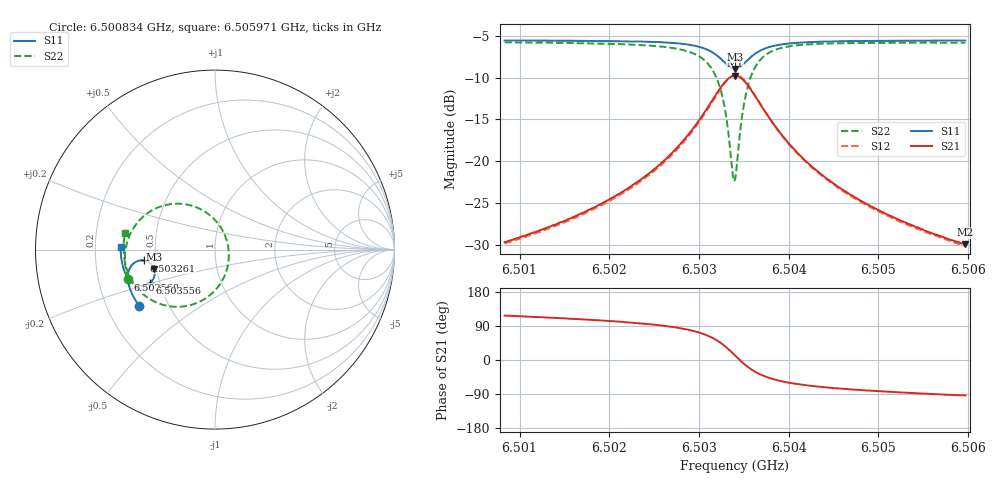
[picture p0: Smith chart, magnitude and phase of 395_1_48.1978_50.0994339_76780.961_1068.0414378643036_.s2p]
#  HZ  S  RI  R  50.00
! Rohde & Schwarz Vector Network Analyzer
! Rohde-Schwarz,ZNB20-2Port,1311601062101988,3.16
! Created: UTC 3/20/2024, 11:53:46 AM
! freq[Hz]  re:S11  im:S11  re:S21  im:S21  re:S12  im:S12  re:S22  im:S22
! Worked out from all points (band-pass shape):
!   401 points, 6.500834 GHz to 6.505971 GHz, reference 50 ohm
!   highest |S21| = -9.78 dB at 6.503402 GHz (marker M1); lowest = -30.0 dB at 6.505971 GHz (marker M2)
!   |S21| within 3 dB of the highest: 6.503146 GHz to 6.50366 GHz (513.7 kHz wide, 0.0079 % of centre)
!   lowest |S11| = -9.0 dB at 6.503402 GHz (marker M3), VSWR 2.11, Z = 24.2 - j6.06 ohm
!   |S11| at or under -10 dB: nowhere
!   |S22| runs from -22.4 to -5.8 dB; largest |S21 - S12| = 0.011
!   S11 on the Smith chart (normalised r, x): 6.500834 GHz: 0.34, -0.30; 6.502568 GHz: 0.33, -0.15; 6.503261 GHz: 0.43, -0.06; 6.503556 GHz: 0.44, -0.20; 6.505971 GHz: 0.31, +0.01
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6.5008339e9  -0.4209 -0.3164  -0.015 0.0291  -0.0134 0.0293  -0.4862 -0.1648
6.5016943e9  -0.4585 -0.2538  -0.0147 0.0466  -0.0121 0.0462  -0.5011 -0.0753
6.5021694e9  -0.4758 -0.2124  -0.0117 0.0656  -0.0088 0.0647  -0.4993 -0.00938
6.5025547e9  -0.4854 -0.1706  -0.00311 0.0946  0.000436 0.0924  -0.4813 0.0656
6.5025675e9  -0.4857 -0.169  -0.00253 0.0959  0.00102 0.0935  -0.4801 0.0686
6.5028115e9  -0.485 -0.1337  0.0154 0.1289  0.0194 0.1251  -0.442 0.1381
6.5029913e9  -0.4737 -0.1005  0.0499 0.1648  0.053 0.1595  -0.3744 0.2039
6.5031583e9  -0.4394 -0.0675  0.1267 0.1981  0.1279 0.1917  -0.2332 0.255
6.503261e9  -0.397 -0.0604  0.2114 0.1897  0.2115 0.1844  -0.0861 0.2279
6.5033124e9  -0.3716 -0.069  0.2592 0.1624  0.26 0.1577  -0.00638 0.1716
6.5033766e9  -0.3451 -0.0949  0.3068 0.0994  0.3093 0.0948  0.0654 0.0512
6.5034023e9  -0.3388 -0.1093  0.3171 0.0678  0.3202 0.0621  0.0767 -0.00778
6.5034279e9  -0.3357 -0.1247  0.321 0.0345  0.3242 0.0279  0.0751 -0.0684
6.5034922e9  -0.3424 -0.1613  0.3036 -0.0424  0.3055 -0.0521  0.0212 -0.2019
6.5035564e9  -0.3632 -0.1869  0.2615 -0.096  0.2605 -0.1069  -0.0736 -0.2842
6.5036591e9  -0.4024 -0.2021  0.1879 -0.1322  0.1827 -0.1415  -0.2214 -0.3187
6.503826e9  -0.448 -0.1924  0.1074 -0.1296  0.1006 -0.1344  -0.3667 -0.2731
6.5040058e9  -0.4752 -0.1712  0.0634 -0.11  0.0573 -0.1121  -0.4382 -0.2091
6.5042627e9  -0.4959 -0.1411  0.0337 -0.086  0.0291 -0.0865  -0.4812 -0.1378
6.5046608e9  -0.5119 -0.1002  0.0146 -0.0627  0.0113 -0.0624  -0.5039 -0.0613
6.5051231e9  -0.521 -0.0579  0.00508 -0.047  0.00277 -0.0465  -0.5097 0.00242
6.5059706e9  -0.5259 0.0136  -0.00201 -0.0317  -0.00337 -0.0308  -0.5018 0.0908
